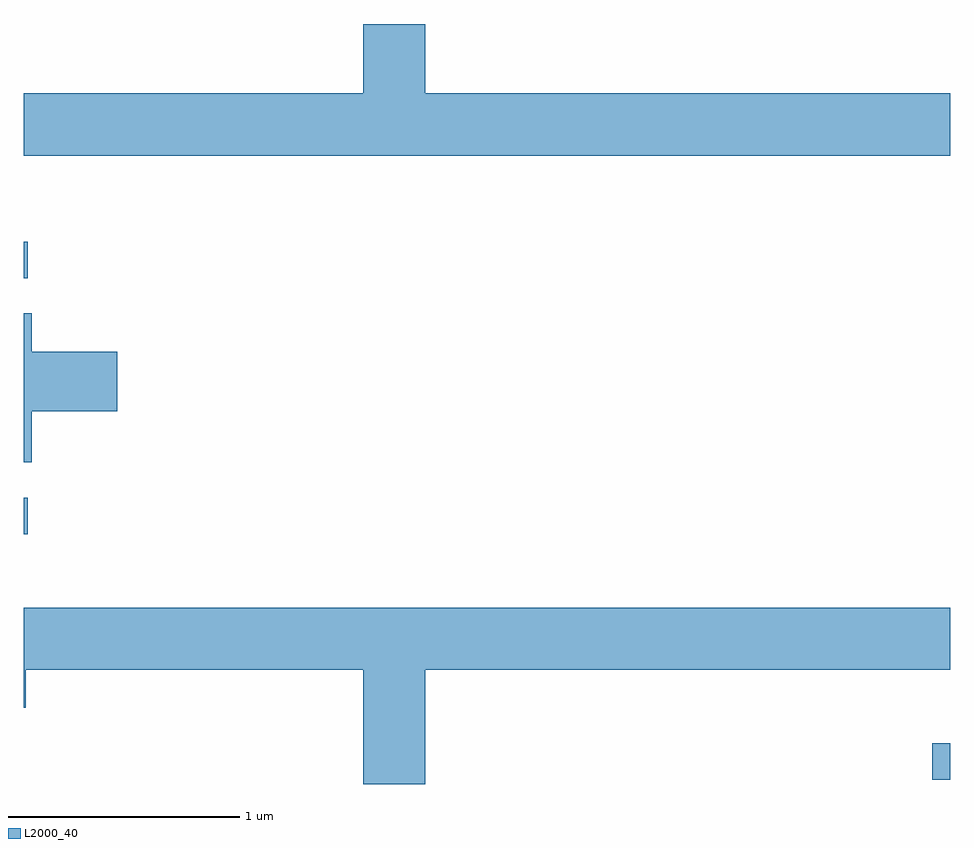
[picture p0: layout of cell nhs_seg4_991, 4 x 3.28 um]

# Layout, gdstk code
import gdstk
lib = gdstk.Library(unit=1e-6, precision=1e-09)
def R(c, l, rs):  # rectangles x0, y0, x1, y1
    for r in rs: c.add(gdstk.rectangle(r[:2], r[2:], *l))
def P(c, l, *ps):  # polygons
    for p in ps: c.add(gdstk.Polygon(p, *l))
L2000_40 = (2000, 40)

nhs_seg4_991 = lib.new_cell('nhs_seg4_991')
R(nhs_seg4_991, L2000_40, [(217.533,1332.001,217.611,1332.159), (213.611,1333.061,213.628,1333.219), (213.611,1334.166,213.628,1334.324)])
P(nhs_seg4_991, L2000_40, [(217.611,1334.964),(215.344,1334.964),(215.344,1335.264),(215.076,1335.264),(215.076,1334.964),(213.611,1334.964),(213.611,1334.696),(217.611,1334.696)],
  [(213.644,1333.591),(214.014,1333.591),(214.014,1333.849),(213.644,1333.849),(213.644,1334.014),(213.611,1334.014),(213.611,1333.371),(213.644,1333.371)],
  [(215.344,1332.476),(217.611,1332.476),(217.611,1332.744),(213.611,1332.744),(213.611,1332.311),(213.619,1332.311),(213.619,1332.476),(215.076,1332.476),(215.076,1331.982),(215.344,1331.982)])

lib.write_gds('nhs_seg4_991.gds')
